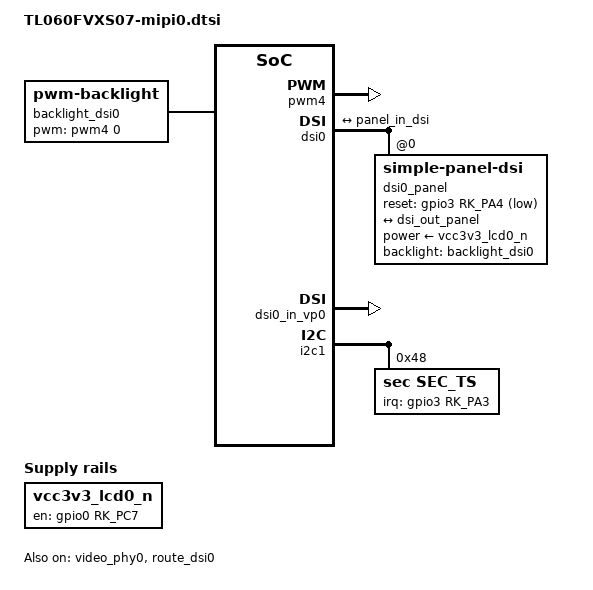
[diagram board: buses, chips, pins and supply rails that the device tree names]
/ {
	backlight_dsi0: backlight-dsi0 {
		compatible = "pwm-backlight";
		pwms = <&pwm4 0 25000 0>;
		brightness-levels = <
			 10  20  20  21  21  22  22  23
			 23  24  24  25  25  26  26  27
			 27  28  28  29  29  30  30  31
			 31  32  32  33  33  34  34  35
			 35  36  36  37  37  38  38  39
			 40  41  42  43  44  45  46  47
			 48  49  50  51  52  53  54  55
			 56  57  58  59  60  61  62  63
			 64  65  66  67  68  69  70  71
			 72  73  74  75  76  77  78  79
			 80  81  82  83  84  85  86  87
			 88  89  90  91  92  93  94  95
			 96  97  98  99 100 101 102 103
			104 105 106 107 108 109 110 111
			112 113 114 115 116 117 118 119
			120 121 122 123 124 125 126 127
			128 129 130 131 132 133 134 135
			136 137 138 139 140 141 142 143
			144 145 146 147 148 149 150 151
			152 153 154 155 156 157 158 159
			160 161 162 163 164 165 166 167
			168 169 170 171 172 173 174 175
			176 177 178 179 180 181 182 183
			184 185 186 187 188 189 190 191
			192 193 194 195 196 197 198 199
			200 201 202 203 204 205 206 207
			208 209 210 211 212 213 214 215
			216 217 218 219 220 221 222 223
			224 225 226 227 228 229 230 231
			232 233 234 235 236 237 238 239
			240 241 242 243 244 245 246 247
			248 249 250 251 252 253 254 255
		>;
		default-brightness-level = <200>;
	};

	vcc3v3_lcd0_n: vcc3v3-lcd0-n {
		compatible = "regulator-fixed";
		regulator-name = "vcc3v3_lcd0_n";
		regulator-boot-on;
		gpio = <&gpio0 RK_PC7 GPIO_ACTIVE_HIGH>;
		enable-active-high;
		regulator-state-mem {
			regulator-off-in-suspend;
		};
	};
};

&pwm4 {
	status = "okay";
};

/*
 * video_phy0 needs to be enabled
 * when dsi0 is enabled
 */
&dsi0 {
	status = "okay";
	// rockchip,lane-rate = <1000>;
	dsi0_panel: panel@0 {
		status = "okay";
		compatible = "simple-panel-dsi";
		reg = <0>;
		backlight = <&backlight_dsi0>;
		power-supply = <&vcc3v3_lcd0_n>;
		reset-gpios = <&gpio3 RK_PA4 GPIO_ACTIVE_LOW>;
		reset-delay-ms = <120>;
		enable-delay-ms = <120>;
		prepare-delay-ms = <120>;
		init-delay-ms = <120>;
		unprepare-delay-ms = <120>;
		disable-delay-ms = <120>;
		dsi,flags = <(MIPI_DSI_MODE_VIDEO | MIPI_DSI_MODE_VIDEO_BURST |
			            MIPI_DSI_MODE_LPM | MIPI_DSI_MODE_EOT_PACKET)>;
		dsi,format = <MIPI_DSI_FMT_RGB888>;
		dsi,lanes = <4>;
		panel-init-sequence = [
            05 78 01 11
            05 0A 01 29
		];

		panel-exit-sequence = [
            05 10 01 28
            05 78 01 10
		];

		disp_timings0: display-timings {
			native-mode = <&dsi0_timing0>;
			dsi0_timing0: timing0 {
                clock-frequency = <135000000>;
                hactive = <1080>;
                hfront-porch = <115>;
                hback-porch = <15>;
                hsync-len = <5>;
                vactive = <2160>;
                vfront-porch = <10>;
                vback-porch = <10>;
                vsync-len = <5>;
                hsync-active = <0>;
                vsync-active = <0>;
                de-active = <0>;
                pixelclk-active = <0>;
			};
		};

		ports {
			#address-cells = <1>;
			#size-cells = <0>;

			port@0 {
				reg = <0>;
				panel_in_dsi: endpoint {
					remote-endpoint = <&dsi_out_panel>;
				};
			};
		};
	};

	ports {
		#address-cells = <1>;
		#size-cells = <0>;

		port@1 {
			reg = <1>;
			dsi_out_panel: endpoint {
				remote-endpoint = <&panel_in_dsi>;
			};
		};
	};
};

&dsi0_in_vp0 {
	status = "okay";
};

&dsi0_in_vp1 {
	status = "disabled";
};

&video_phy0 {
	status = "okay";
};

&route_dsi0 {
	status = "okay";
	connect = <&vp0_out_dsi0>;
};

&i2c1 {
	status = "okay";

    sec_ts: sec_ts@48 {
		status = "okay";
		compatible = "sec,sec_ts";
		reg = <0x48>;
        pinctrl-names = "on_state", "off_state";
		pinctrl-0 = <&touch1_gpio>;
        pinctrl-1 = <&touch1_gpio>;
		sec,irq_gpio = <&gpio3 RK_PA3 IRQ_TYPE_LEVEL_LOW>;
		sec,max_coords = <1080>, <2160>;
	};
};

&pinctrl {
    touch1 {
        touch1_gpio: touch-gpio {
            rockchip,pins =
                <3 RK_PA3 RK_FUNC_GPIO &pcfg_pull_up>,
                <0 RK_PB6 RK_FUNC_GPIO &pcfg_pull_none>;
        };
    };
};
